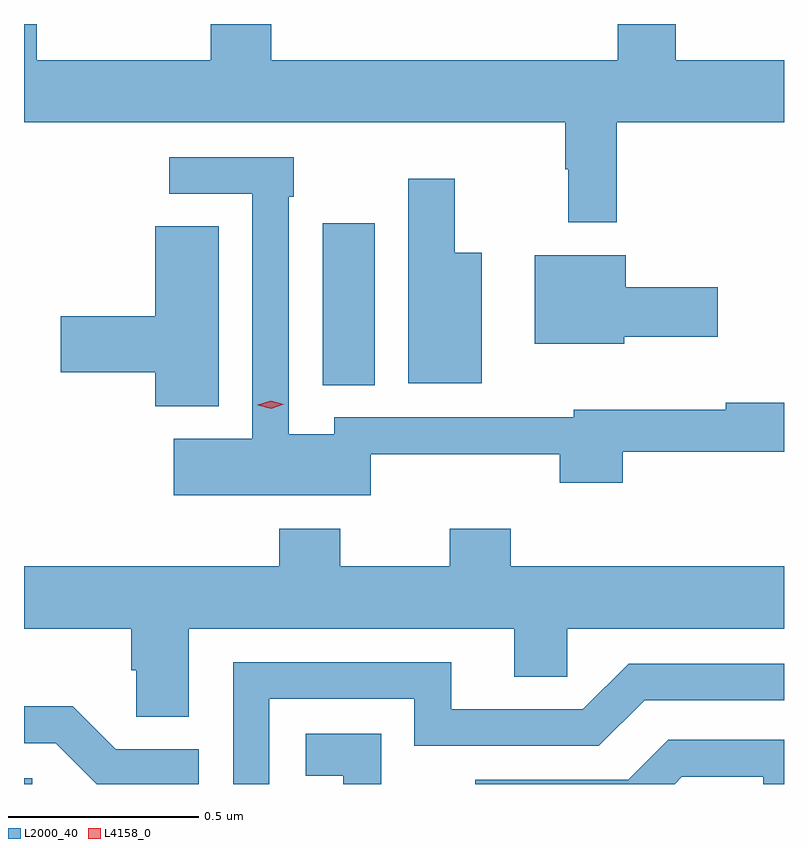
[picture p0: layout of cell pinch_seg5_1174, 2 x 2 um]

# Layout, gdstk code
import gdstk
lib = gdstk.Library(unit=1e-6, precision=1e-09)
def R(c, l, rs):  # rectangles x0, y0, x1, y1
    for r in rs: c.add(gdstk.rectangle(r[:2], r[2:], *l))
def P(c, l, *ps):  # polygons
    for p in ps: c.add(gdstk.Polygon(p, *l))
L2000_40 = (2000, 40)
L4158_0 = (4158, 0)

pinch_seg5_1174 = lib.new_cell('pinch_seg5_1174')
R(pinch_seg5_1174, L2000_40, [(773.963,848.359,773.985,848.374), (774.749,849.409,774.886,849.835)])
P(pinch_seg5_1174, L2000_40, [(775.523,850.1),(775.963,850.1),(775.963,850.264),(775.678,850.264),(775.678,850.359),(775.526,850.359),(775.526,850.264),(774.614,850.264),(774.614,850.359),(774.454,850.359),(774.454,850.264),(773.997,850.264),(773.997,850.359),(773.963,850.359),(773.963,850.1),(775.387,850.1),(775.387,849.977),(775.395,849.977),(775.395,849.837),(775.523,849.837)],
  [(774.876,849.227),(775.373,849.227),(775.373,849.152),(775.538,849.152),(775.538,849.234),(775.963,849.234),(775.963,849.362),(775.81,849.362),(775.81,849.344),(775.41,849.344),(775.41,849.324),(774.78,849.324),(774.78,849.28),(774.66,849.28),(774.66,849.905),(774.673,849.905),(774.673,850.008),(774.345,850.008),(774.345,849.912),(774.564,849.912),(774.564,849.268),(774.357,849.268),(774.357,849.119),(774.876,849.119)],
  [(775.168,849.757),(775.096,849.757),(775.096,849.952),(774.974,849.952),(774.974,849.413),(775.168,849.413)],
  [(774.475,849.827),(774.308,849.827),(774.308,849.59),(774.06,849.59),(774.06,849.443),(774.308,849.443),(774.308,849.353),(774.475,849.353)],
  [(775.542,849.536),(775.789,849.536),(775.789,849.666),(775.546,849.666),(775.546,849.751),(775.307,849.751),(775.307,849.518),(775.542,849.518)],
  [(773.963,848.768),(774.245,848.768),(774.245,848.659),(774.258,848.659),(774.258,848.536),(774.397,848.536),(774.397,848.768),(775.253,848.768),(775.253,848.641),(775.392,848.641),(775.392,848.768),(775.963,848.768),(775.963,848.932),(775.244,848.932),(775.244,849.031),(775.084,849.031),(775.084,848.932),(774.795,848.932),(774.795,849.031),(774.635,849.031),(774.635,848.932),(773.963,848.932)],
  [(774.609,848.583),(774.99,848.583),(774.99,848.46),(775.476,848.46),(775.596,848.58),(775.963,848.58),(775.963,848.676),(775.554,848.676),(775.434,848.556),(775.087,848.556),(775.087,848.679),(774.513,848.679),(774.513,848.359),(774.609,848.359)],
  [(774.423,848.451),(774.204,848.451),(774.091,848.564),(773.963,848.564),(773.963,848.466),(774.047,848.466),(774.154,848.359),(774.423,848.359)],
  [(774.903,848.491),(774.705,848.491),(774.705,848.381),(774.803,848.381),(774.803,848.359),(774.903,848.359)],
  [(775.694,848.378),(775.908,848.378),(775.908,848.359),(775.963,848.359),(775.963,848.475),(775.658,848.475),(775.553,848.37),(775.15,848.37),(775.15,848.359),(775.675,848.359)])
P(pinch_seg5_1174, L4158_0, [(774.613,849.347),(774.578,849.356),(774.578,849.356),(774.578,849.357),(774.612,849.367),(774.647,849.358),(774.648,849.358),(774.647,849.358)])

lib.write_gds('pinch_seg5_1174.gds')
